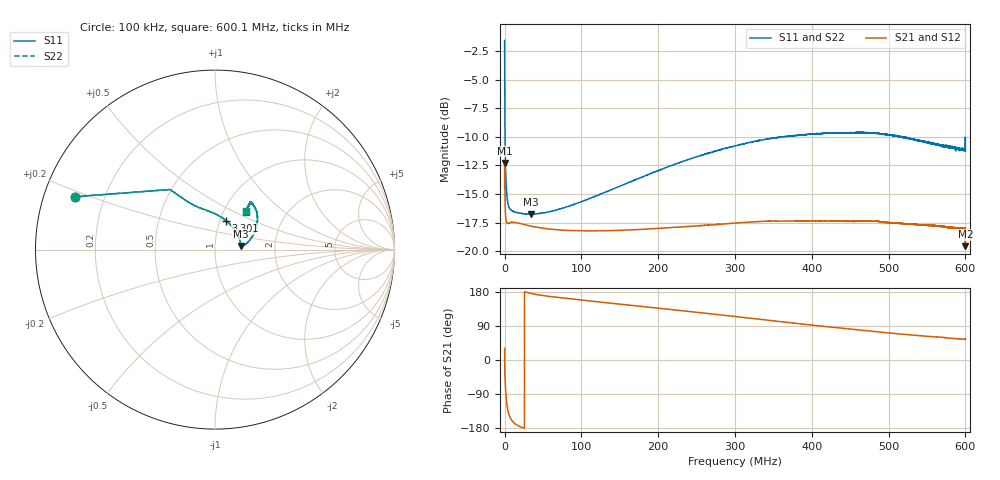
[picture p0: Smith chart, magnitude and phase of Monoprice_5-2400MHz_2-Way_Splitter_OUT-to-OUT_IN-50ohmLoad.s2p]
! ListType=Lin
! Comment=Monoprice_5-2400MHz_2-Way_Splitter_OUT-to-OUT_IN-50ohmLoad
# MHZ S DB R 50
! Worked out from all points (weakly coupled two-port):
!   6000 points, 100 kHz to 600.1 MHz, reference 50 ohm
!   highest |S21| = -12.30 dB at 200 kHz (marker M1); lowest = -19.6 dB at 600 MHz (marker M2)
!   lowest |S11| = -16.8 dB at 34.81 MHz (marker M3), VSWR 1.34, Z = 66.7 + j2.77 ohm
!   |S11| at or under -10 dB: 651.1 kHz to 361.8 MHz (361.1 MHz wide, 199 % of centre); 517.2427 MHz to 517.5714 MHz (328.7 kHz wide, 0.0635 % of centre); 518.4 MHz to end of sweep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
!   |S22| runs from -16.8 to -1.6 dB; largest |S21 - S12| = 0.0062
!   S11 on the Smith chart (normalised r, x): 100 kHz: 0.09, +0.18; 3.301 MHz: 1.07, +0.36; 600.1 MHz: 1.28, +0.59
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0.1  -1.56 159.3  -14.52 31.0  -14.51 30.9  -1.56 159.4
0.2000167  -4.02 140.7  -12.30 -3.5  -12.30 -3.5  -4.02 140.7
3.300533  -15.27 69.0  -17.55 -121.0  -17.55 -121.0  -15.26 69.0
4.100667  -15.70 59.4  -17.58 -130.8  -17.58 -130.9  -15.69 59.5
5.300867  -16.09 49.1  -17.58 -141.0  -17.59 -141.0  -16.08 49.1
6.901134  -16.30 39.4  -17.52 -150.1  -17.52 -150.1  -16.30 39.4
9.40155  -16.45 29.8  -17.47 -159.0  -17.47 -159.0  -16.44 29.8
13.3022  -16.57 21.0  -17.49 -167.6  -17.49 -167.6  -16.57 21.0
18.60308  -16.67 14.8  -17.56 -174.3  -17.56 -174.3  -16.66 14.8
34.80578  -16.77 8.1  -17.82 175.5  -17.82 175.5  -16.76 8.1
62.5104  -16.49 6.6  -18.10 166.8  -18.10 166.8  -16.48 6.6
100.1167  -15.68 8.5  -18.22 158.1  -18.23 158.0  -15.68 8.5
148.3247  -14.36 13.4  -18.19 147.7  -18.19 147.7  -14.36 13.4
200.1333  -12.95 20.4  -18.01 136.7  -18.02 136.7  -12.95 20.3
249.6416  -11.76 27.6  -17.79 126.0  -17.80 126.0  -11.76 27.6
300.15  -10.80 35.0  -17.55 114.8  -17.56 114.8  -10.80 35.0
345.9576  -10.15 41.2  -17.37 104.1  -17.38 104.1  -10.15 41.1
400.1667  -9.75 47.8  -17.34 92.1  -17.35 92.0  -9.75 47.7
461.877  -9.62 52.7  -17.35 79.3  -17.35 79.2  -9.64 52.7
500.1833  -9.84 53.1  -17.50 71.4  -17.50 71.4  -9.83 53.1
600  -10.02 52.3  -19.57 55.9  -19.16 57.8  -12.55 45.8
600.1  -11.20 50.3  -18.03 54.3  -18.05 54.3  -11.22 50.3
